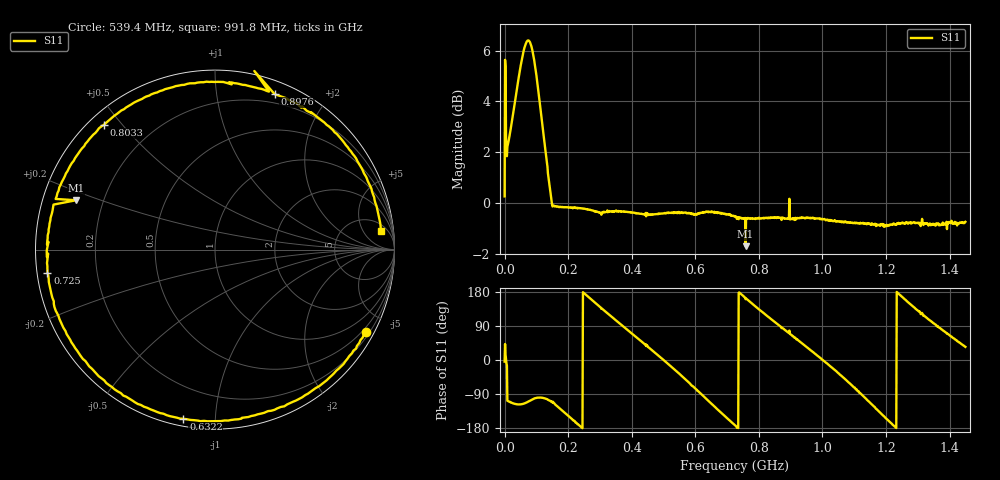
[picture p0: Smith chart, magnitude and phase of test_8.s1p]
! Created with skrf 1.11.0 (http://scikit-rf.org).
# Hz S RI R 50.0
!freq ReS11 ImS11
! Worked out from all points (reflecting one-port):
!   1001 points, 50 kHz to 1.45 GHz, reference 50 ohm
!   lowest |S11| = -1.7 dB at 758.4 MHz (marker M1), VSWR 10.21, Z = 5.04 + j8.53 ohm
!   phase of S11 starts at -4 deg and turns -1041 deg over the sweep
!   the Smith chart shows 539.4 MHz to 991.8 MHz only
!   S11 on the Smith chart (normalised r, x): 539.4 MHz: 0.36, -3.90; 632.2 MHz: 0.04, -0.83; 725 MHz: 0.03, -0.07; 803.3 MHz: 0.04, +0.45; 897.6 MHz: 0.12, +1.45; 991.8 MHz: 8, +12
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50000  1.027 -0.0763
1.599945e7  -0.4768 -1.274
5.079825e7  -0.8483 -1.663
7.54474e7  -0.6891 -1.974
1.17496e8  -0.2396 -1.429
1.812938e8  -0.6743 -0.714
2.639409e8  -0.9427 0.2296
3.625375e8  -0.1027 0.9571
4.089359e8  0.4203 0.858
4.62584e8  0.8476 0.4252
5.394314e8  0.8403 -0.4574
5.437812e8  0.8107 -0.5041
5.872798e8  0.3864 -0.873
6.322282e8  -0.1759 -0.9424
6.815265e8  -0.7215 -0.6212
7.25025e8  -0.9334 -0.1276
7.583738e8  -0.7742 0.275
8.033223e8  -0.6199 0.6949
8.97569e8  0.3316 0.8669
9.062688e8  0.4261 0.8253
9.918158e8  0.9227 0.1062
1.039664e9  0.8244 -0.4174
1.087512e9  0.4201 -0.811
1.138261e9  -0.2005 -0.8861
1.191909e9  -0.7571 -0.4864
1.268756e9  -0.811 0.4134
1.355753e9  -0.0552 0.9001
1.45e9  0.7554 0.5211
